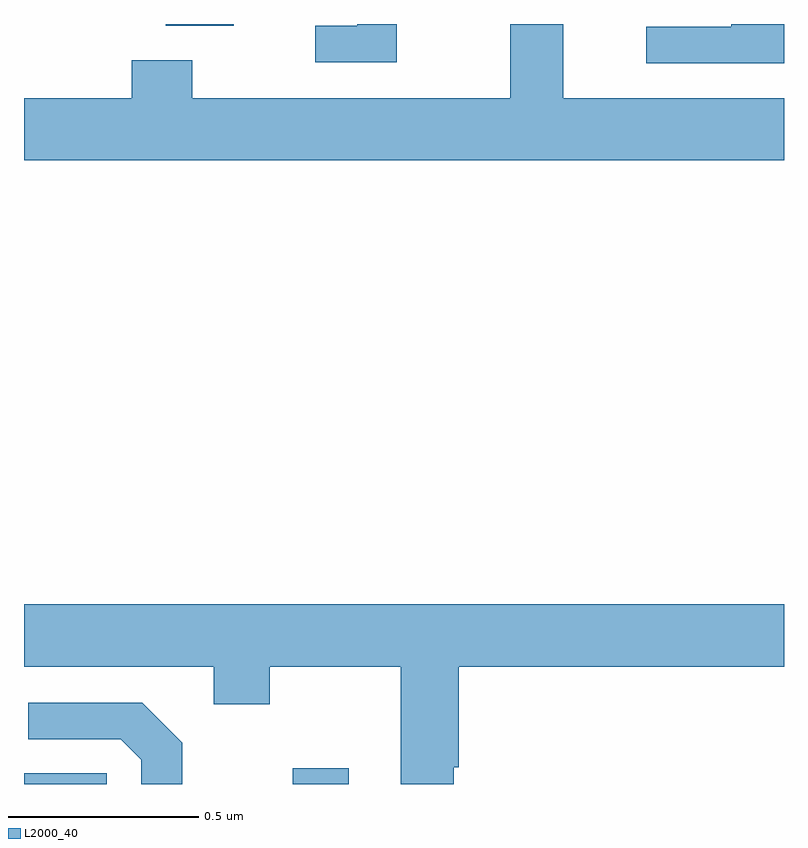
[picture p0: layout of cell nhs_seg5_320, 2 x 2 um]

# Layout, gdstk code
import gdstk
lib = gdstk.Library(unit=1e-6, precision=1e-09)
def R(c, l, rs):  # rectangles x0, y0, x1, y1
    for r in rs: c.add(gdstk.rectangle(r[:2], r[2:], *l))
def P(c, l, *ps):  # polygons
    for p in ps: c.add(gdstk.Polygon(p, *l))
L2000_40 = (2000, 40)

nhs_seg5_320 = lib.new_cell('nhs_seg5_320')
R(nhs_seg5_320, L2000_40, [(115,841.799,115.218,841.827), (115.707,841.799,115.855,841.84), (115.373,843.794,115.552,843.799)])
P(nhs_seg5_320, L2000_40, [(117,843.604),(116.419,843.604),(116.419,843.799),(116.279,843.799),(116.279,843.604),(115.443,843.604),(115.443,843.703),(115.283,843.703),(115.283,843.604),(115,843.604),(115,843.44),(117,843.44)],
  [(115.981,843.799),(115.877,843.799),(115.877,843.795),(115.767,843.795),(115.767,843.699),(115.981,843.699)],
  [(117,843.799),(116.861,843.799),(116.861,843.792),(116.637,843.792),(116.637,843.696),(117,843.696)],
  [(116.131,841.843),(116.144,841.843),(116.144,842.108),(117,842.108),(117,842.272),(115,842.272),(115,842.108),(115.499,842.108),(115.499,842.009),(115.647,842.009),(115.647,842.108),(115.991,842.108),(115.991,841.799),(116.131,841.799)],
  [(115.417,841.907),(115.311,842.013),(115.011,842.013),(115.011,841.917),(115.254,841.917),(115.308,841.863),(115.308,841.799),(115.417,841.799)])

lib.write_gds('nhs_seg5_320.gds')
